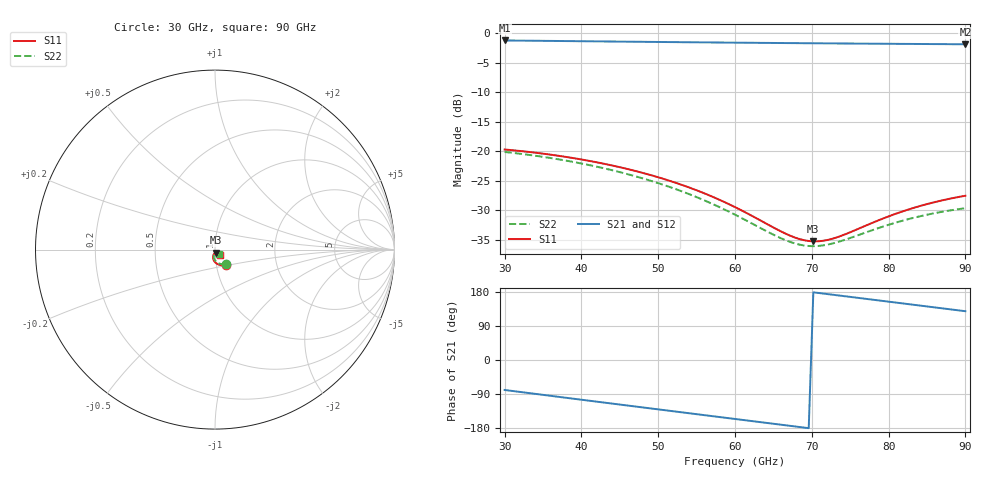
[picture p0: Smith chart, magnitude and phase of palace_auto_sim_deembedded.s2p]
! Created with skrf 1.11.0 (http://scikit-rf.org).
# GHz S DB R 50.0
!freq dBS11 angS11 dBS21 angS21 dBS12 angS12 dBS22 angS22
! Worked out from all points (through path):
!   101 points, 30 GHz to 90 GHz, reference 50 ohm
!   highest |S21| = -1.25 dB at 30 GHz (marker M1); lowest = -1.9 dB at 90 GHz (marker M2)
!   group delay of S21, straight-line fit = 7.04 ps
!   lowest |S11| = -35.2 dB at 70.2 GHz (marker M3), VSWR 1.04, Z = 50.5 - j1.67 ohm
!   |S11| at or under -10 dB: start of sweep to end of sweep
!   |S22| runs from -36.1 to -20.1 dB; largest |S21 - S12| = 1.5e-13
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30  -19.70 -54.7  -1.25 -79.1  -1.25 -79.1  -20.11 -53.6
32.4  -20.00 -60.1  -1.28 -85.3  -1.28 -85.3  -20.48 -58.8
34.8  -20.37 -65.4  -1.31 -91.5  -1.31 -91.5  -20.91 -64.0
37.2  -20.80 -70.8  -1.34 -97.6  -1.34 -97.6  -21.40 -69.1
40.2  -21.43 -77.3  -1.38 -105.3  -1.38 -105.3  -22.12 -75.4
42.6  -22.02 -82.3  -1.41 -111.4  -1.41 -111.4  -22.78 -80.2
45  -22.69 -87.2  -1.44 -117.6  -1.44 -117.6  -23.53 -84.8
47.4  -23.46 -91.8  -1.47 -123.7  -1.47 -123.7  -24.37 -89.1
50.4  -24.55 -97.1  -1.51 -131.3  -1.51 -131.3  -25.56 -94.0
55.2  -26.70 -103.8  -1.57 -143.5  -1.57 -143.5  -27.86 -99.8
60  -29.45 -106.5  -1.62 -155.6  -1.62 -155.6  -30.73 -101.2
63.6  -31.90 -103.1  -1.66 -164.7  -1.66 -164.7  -33.18 -96.4
66.6  -33.94 -93.7  -1.69 -172.3  -1.69 -172.3  -35.05 -86.2
68.4  -34.85 -84.6  -1.71 -176.8  -1.71 -176.8  -35.80 -77.2
70.2  -35.24 -73.6  -1.73 178.6  -1.73 178.6  -36.05 -67.1
71.4  -35.16 -66.2  -1.74 175.6  -1.74 175.6  -35.94 -60.7
73.2  -34.59 -56.6  -1.75 171.1  -1.75 171.1  -35.42 -52.5
76.8  -32.70 -45.2  -1.79 162.0  -1.79 162.0  -33.84 -42.8
80.4  -30.82 -42.0  -1.82 152.9  -1.82 152.9  -32.28 -40.0
82.8  -29.76 -42.5  -1.84 146.9  -1.84 146.9  -31.40 -40.6
85.2  -28.87 -44.3  -1.86 140.8  -1.86 140.8  -30.68 -42.3
90  -27.52 -50.2  -1.89 128.8  -1.89 128.8  -29.63 -47.7
